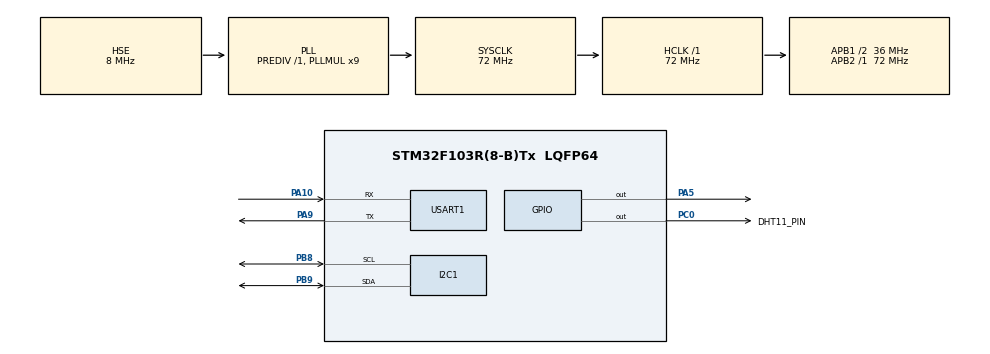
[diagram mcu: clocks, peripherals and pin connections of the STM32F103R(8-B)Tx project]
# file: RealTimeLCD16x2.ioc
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I2C1.I2C_Mode=I2C_Fast
Mcu.Family=STM32F1
Mcu.Name=STM32F103R(8-B)Tx
Mcu.Package=LQFP64
NVIC.PriorityGroup=NVIC_PRIORITYGROUP_4
PA10.Mode=Asynchronous
PA10.Signal=USART1_RX
PA5.Signal=GPIO_Output
PA9.Mode=Asynchronous
PA9.Signal=USART1_TX
PB8.Mode=I2C
PB8.Signal=I2C1_SCL
PB9.Mode=I2C
PB9.Signal=I2C1_SDA
PC0.GPIO_Label=DHT11_PIN
PC0.Signal=GPIO_Output
PC14-OSC32_IN.Mode=LSE-External-Oscillator
PC14-OSC32_IN.Signal=RCC_OSC32_IN
PC15-OSC32_OUT.Mode=LSE-External-Oscillator
PC15-OSC32_OUT.Signal=RCC_OSC32_OUT
PD0-OSC_IN.Mode=HSE-External-Oscillator
PD0-OSC_IN.Signal=RCC_OSC_IN
PD1-OSC_OUT.Mode=HSE-External-Oscillator
PD1-OSC_OUT.Signal=RCC_OSC_OUT
ProjectManager.HeapSize=0x200
ProjectManager.StackSize=0x400
ProjectManager.TargetToolchain=STM32CubeIDE
RCC.AHBFreq_Value=72000000
RCC.APB1CLKDivider=RCC_HCLK_DIV2
RCC.APB1Freq_Value=36000000
RCC.APB1TimFreq_Value=72000000
RCC.APB2Freq_Value=72000000
RCC.APB2TimFreq_Value=72000000
RCC.HCLKFreq_Value=72000000
RCC.PLLMUL=RCC_PLL_MUL9
RCC.PLLSourceVirtual=RCC_PLLSOURCE_HSE
RCC.RTCClockSelection=RCC_RTCCLKSOURCE_LSE
RCC.SYSCLKFreq_VALUE=72000000
RCC.SYSCLKSource=RCC_SYSCLKSOURCE_PLLCLK
RCC.USBFreq_Value=72000000
RTC.Hours=23
RTC.Minutes=59
RTC.Seconds=59
USART1.VirtualMode=VM_ASYNC
VP_RTC_VS_RTC_Activate.Mode=RTC_Enabled
VP_RTC_VS_RTC_Calendar.Mode=RTC_Calendar
VP_SYS_VS_ND.Mode=No_Debug
VP_TIM1_VS_ClockSourceINT.Mode=Internal
board=NUCLEO-F103RB

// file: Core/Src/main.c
/* USER CODE BEGIN Header */
/**
  ******************************************************************************
  * @file           : main.c
  * @brief          : Main program body
  ******************************************************************************
  * @attention
  *
  * Copyright (c) 2026 STMicroelectronics.
  * All rights reserved.
  *
  * This software is licensed under terms that can be found in the LICENSE file
  * in the root directory of this software component.
  * If no LICENSE file comes with this software, it is provided AS-IS.
  *
  ******************************************************************************
  */
/* USER CODE END Header */
#include "main.h"
#include "i2c.h"
#include "rtc.h"
#include "usart.h"
#include "gpio.h"
#include "tim.h"
/* USER CODE BEGIN Includes */
#include "i2c_lcd.h"
#include "stm32f1xx_hal.h"
#include "rtc.h"
#include <stdio.h>
#include <string.h>
#include <stdlib.h>
#include "stm32f1xx_hal_rtc.h"
/* USER CODE END Includes */

/* USER CODE BEGIN PD */
#define STEFANI
#define BCD2DEC(x) (((x) >> 4) * 10 + ((x) & 0x0F))
#define DEC2BCD(x) ((((x) / 10) << 4) | ((x) % 10))
/* USER CODE END PD */

	extern UART_HandleTypeDef huart1;
	char uart_rx_char;
	char uart_buffer[40];
	uint8_t uart_index = 0;
/* USER CODE BEGIN PV */
	char time[16];
	char date[16];
	char temp_buffer[10];
	char hum_buffer[10]; // increased size to avoid overflow
	uint8_t Rh_byte1, Rh_byte2, Temp_byte1, Temp_byte2;
	uint16_t SUM;
	uint8_t Presence = 0;
	int Temperature = 0;
	int Humidity = 0;

RTC_TimeTypeDef prevTime = {0};
RTC_DateTypeDef prevDate = {0};
/* USER CODE END PV */

/* USER CODE BEGIN PFP */
void SystemClock_Config(void);
void HAL_UART_RxCpltCallback(UART_HandleTypeDef *huart);
void parse_and_set_time(char *str);
/* USER CODE END PFP */

/* USER CODE BEGIN 0 */
/*Store date and weekday int BKP register*/
static void RTC_Store_DateWeekDayIntoBkpReg(RTC_DateTypeDef* dateRtc)
{
	uint32_t dateToStore;

	memcpy(&dateToStore, dateRtc, sizeof(dateToStore));

	HAL_RTCEx_BKUPWrite( &hrtc, RTC_BKP_DR2, (dateToStore >> 16)	);

	HAL_RTCEx_BKUPWrite( &hrtc, RTC_BKP_DR3, (dateToStore & 0xFFFF) );

}

static void RTC_LoadDateFromBkpReg(RTC_DateTypeDef* dateRtc)
{
	uint32_t dateToStore;
	if(HAL_RTCEx_BKUPRead(&hrtc, RTC_BKP_DR1)!=0x32F2)
	{
		dateRtc->WeekDay = RTC_WEEKDAY_SATURDAY;
		dateRtc->Month   = RTC_MONTH_JANUARY;
		dateRtc->Date    = 1;
		dateRtc->Year    = 0;  // = 2000
		return;
	}
	dateToStore = HAL_RTCEx_BKUPRead( &hrtc, RTC_BKP_DR3 );

	dateToStore |= ( HAL_RTCEx_BKUPRead( &hrtc, RTC_BKP_DR2 ) << 16 );

	memcpy( dateRtc, &dateToStore, sizeof(dateToStore) );
}

/*CUSTOM CHARACTER CREATION FOR CELSIUS*/

void LCD_CreateCustomChar() {
	uint8_t degree_char[8] = {
	    0x00,
	    0x06,
	    0x09,
	    0x09,
	    0x06,
	    0x00,
	    0x00,
	    0x00
	};
    // Load custom char at location 0
    lcd_send_cmd(0x40); // Set CGRAM address to 0
    for (int i = 0; i < 8; i++) {
    	lcd_send_char(degree_char[i]);
    }
}

/* Gregorian leap-year rule: divisible by 4, except centuries not by 400. */
static uint8_t IsLeapYear(uint16_t year)   // full year, e.g. 2024
{
    return (((year % 4U) == 0U) && ((year % 100U) != 0U)) || ((year % 400U) == 0U);
}

/* Number of days in a given month, with leap-year-aware February. */
static uint8_t DaysInMonth(uint8_t month, uint16_t year)
{
    static const uint8_t days[12] = {31U,28U,31U,30U,31U,30U,31U,31U,30U,31U,30U,31U};

    if ((month == 2U) && IsLeapYear(year))
    {
        return 29U;
    }
    return days[month - 1U];
}

/* ---- Daylight Saving Time (EU rules) --------------------------------------
 * RTC is kept in LOCAL STANDARD (winter) time; DST is derived from the date
 * and applied only for display, so there is no state a power cut can corrupt. */

/* Sakamoto's algorithm: 0=Sunday .. 6=Saturday. 'year' is full, e.g. 2026. */
static uint8_t DayOfWeek(uint16_t year, uint8_t month, uint8_t day)
{
    static const uint8_t t[12] = {0,3,2,5,0,3,5,1,4,6,2,4};
    if (month < 3U) year -= 1U;
    return (uint8_t)((year + year/4U - year/100U + year/400U + t[month-1U] + day) % 7U);
}

/* Date (1..31) of the last Sunday in the given month. */
static uint8_t LastSundayOfMonth(uint16_t year, uint8_t month)
{
    uint8_t last = DaysInMonth(month, year);
    return (uint8_t)(last - DayOfWeek(year, month, last));  /* step back to Sunday */
}

/* 1 = DST (summer) in effect. 'hour' is the STANDARD-time hour. */
static uint8_t IsEU_DST(uint16_t year, uint8_t month, uint8_t day, uint8_t hour)
{
    if ((month < 3U) || (month > 10U)) return 0U;   /* Jan,Feb,Nov,Dec */
    if ((month > 3U) && (month < 10U)) return 1U;   /* Apr..Sep        */

    if (month == 3U) {                              /* March: starts last Sun 02:00 */
        uint8_t ls = LastSundayOfMonth(year, 3U);
        if (day > ls) return 1U;
        if (day < ls) return 0U;
        return (hour >= 2U) ? 1U : 0U;
    } else {                                        /* October: ends last Sun 02:00 */
        uint8_t ls = LastSundayOfMonth(year, 10U);
        if (day < ls) return 1U;
        if (day > ls) return 0U;
        return (hour < 2U) ? 1U : 0U;
    }
}

/* Subtract one hour from a Y/M/D/h value, rolling back across midnight,
 * month and year (leap-year aware). Used to convert an entered wall-clock
 * time to the standard time that is stored in the RTC. */
static void MinusOneHour(uint16_t *y, uint8_t *mo, uint8_t *d, uint8_t *h)
{
    if (*h > 0U) { (*h)--; return; }
    *h = 23U;
    if (*d > 1U) { (*d)--; return; }
    if (*mo > 1U) { (*mo)--; } else { *mo = 12U; (*y)--; }
    *d = DaysInMonth(*mo, *y);
}

/* Reject impossible calendar dates (incl. Feb 29 on non-leap years) before
 * they reach the RTC. An invalid Feb day would otherwise wedge the HAL's
 * day-rollover (RTC_DateUpdate) and the date would stop advancing. */
static uint8_t IsValidDate(int year, int month, int day)
{
    if ((month < 1) || (month > 12))
    {
        return 0U;
    }
    if ((day < 1) || (day > (int)DaysInMonth((uint8_t)month, (uint16_t)year)))
    {
        return 0U;
    }
    return 1U;
}

void parse_and_set_time(char *str)
{
    int y, m, d, hh, mm, ss;

    if (sscanf(str, "T:%d-%d-%d %d:%d:%d",
               &y, &m, &d, &hh, &mm, &ss) == 6)//&y, &m, &d, &weekday, &hh, &mm, &ss) == 7)
    {
        /* Validate before touching the RTC: a bad date (e.g. Feb 29 on a
         * non-leap year, or Feb 30) would stall the HAL date rollover.
         * The day of week is left for HAL_RTC_SetDate to compute from the
         * validated Y/M/D, so it stays correct across the leap day too. */
        if (!IsValidDate(y, m, d) ||
            (hh < 0) || (hh > 23) ||
            (mm < 0) || (mm > 59) ||
            (ss < 0) || (ss > 59))
        {
            return;   // ignore malformed input, keep current RTC time/date
        }

        /* Entered value is local wall-clock; store STANDARD time so the
         * display path (GetLocalDateTime) can re-add the DST offset. */
        if (IsEU_DST((uint16_t)y, (uint8_t)m, (uint8_t)d, (uint8_t)hh)) {
            uint16_t yy=(uint16_t)y; uint8_t mm=(uint8_t)m, dd=(uint8_t)d, hc=(uint8_t)hh;
            MinusOneHour(&yy,&mm,&dd,&hc);
            y=yy; m=mm; d=dd; hh=hc;
        }

        RTC_TimeTypeDef time = {0};
        RTC_DateTypeDef date = {0};

        time.Hours   = ((hh / 10) << 4) | (hh % 10);
		time.Minutes = ((mm / 10) << 4) | (mm % 10);
		time.Seconds = ((ss / 10) << 4) | (ss % 10);

		date.Date  = ((d / 10) << 4) | (d % 10);
		date.Month = ((m / 10) << 4) | (m % 10); //m;
		date.Year  = ((y - 2000) / 10 << 4) | ((y - 2000) % 10);
//        date.WeekDay = weekday;

        HAL_RTC_SetTime(&hrtc, &time, RTC_FORMAT_BCD);
        HAL_RTC_SetDate(&hrtc, &date, RTC_FORMAT_BCD);

        RTC_Store_DateWeekDayIntoBkpReg(&date);
        RTC_SaveDayCounter();
        HAL_RTCEx_BKUPWrite(&hrtc, RTC_BKP_DR1, 0x32F2);
    }
}

void HAL_UART_RxCpltCallback(UART_HandleTypeDef *huart)
{
if (huart->Instance == USART1)
    {
        if (uart_rx_char == '\n')
        {
            uart_buffer[uart_index] = '\0';
            parse_and_set_time(uart_buffer);
            uart_index = 0;
        }
        else
        {
            if (uart_index < sizeof(uart_buffer) - 1)
            {
                uart_buffer[uart_index++] = uart_rx_char;
            }
        }

        HAL_UART_Receive_IT(&huart1, (uint8_t *)&uart_rx_char, 1);
    }
}
void set_timeFromCompile(void)
{
	RTC_TimeTypeDef sTime = {0};
	RTC_DateTypeDef sDate = {0};

	int hour, minute, second, day, year;
	char month_str[4];
	 sscanf(__TIME__, "%d:%d:%d", &hour, &minute, &second);
	 sscanf(__DATE__, "%3s %d %d", month_str, &day, &year);

	int mon = 0;
	if      (!strcmp(month_str, "Jan")) mon = 1;
	else if (!strcmp(month_str, "Feb")) mon = 2;
	else if (!strcmp(month_str, "Mar")) mon = 3;
	else if (!strcmp(month_str, "Apr")) mon = 4;
	else if (!strcmp(month_str, "May")) mon = 5;
	else if (!strcmp(month_str, "Jun")) mon = 6;
	else if (!strcmp(month_str, "Jul")) mon = 7;
	else if (!strcmp(month_str, "Aug")) mon = 8;
	else if (!strcmp(month_str, "Sep")) mon = 9;
	else if (!strcmp(month_str, "Oct")) mon = 10;
	else if (!strcmp(month_str, "Nov")) mon = 11;
	else if (!strcmp(month_str, "Dec")) mon = 12;
	else return;   /* could not parse month */

	/* __DATE__/__TIME__ is local wall-clock; store STANDARD time so the
	 * display path (GetLocalDateTime) re-adds the DST offset. */
	if (IsEU_DST((uint16_t)year, (uint8_t)mon, (uint8_t)day, (uint8_t)hour)) {
		uint16_t yy=(uint16_t)year; uint8_t mm=(uint8_t)mon, dd=(uint8_t)day, hc=(uint8_t)hour;
		MinusOneHour(&yy,&mm,&dd,&hc);
		year=yy; mon=mm; day=dd; hour=hc;
	}

	 sTime.Hours = ((hour / 10) << 4) | (hour % 10);
	sTime.Minutes = ((minute / 10) << 4) | (minute % 10);
	sTime.Seconds = ((second / 10) << 4) | (second % 10);

	sDate.Date = ((day / 10) << 4) | (day % 10);
	sDate.Year = ((year - 2000) / 10 << 4) | ((year - 2000) % 10);
	sDate.Month = ((mon / 10) << 4) | (mon % 10);

	HAL_RTC_SetTime(&hrtc, &sTime, RTC_FORMAT_BCD);
	HAL_RTC_SetDate(&hrtc, &sDate, RTC_FORMAT_BCD);

	HAL_RTCEx_BKUPWrite(&hrtc, RTC_BKP_DR1, 0x32F2);
}
void set_time(void)
{
	RTC_TimeTypeDef sTime = {0};
	RTC_DateTypeDef sDate = {0};
	/*Initialize RTC and set time and date*/

	sTime.Hours = 0x12;
	sTime.Minutes = 0x45;
	sTime.Seconds = 0x00;

	if(HAL_RTC_SetTime(&hrtc, &sTime, RTC_FORMAT_BCD) != HAL_OK)
	{
		Error_Handler();
	}
	sDate.WeekDay = RTC_WEEKDAY_WEDNESDAY;
	sDate.Month = RTC_MONTH_FEBRUARY;
	sDate.Date = 0x04;
	sDate.Year = 0x26;
	if(HAL_RTC_SetDate(&hrtc, &sDate, RTC_FORMAT_BCD) != HAL_OK)
	{
		Error_Handler();
	}
	HAL_RTCEx_BKUPWrite(&hrtc, RTC_BKP_DR1, 0x32F2);
}

void set_alarm(void)
{
	RTC_AlarmTypeDef sAlarm = {0};
	  /** Enable the Alarm A
	  */
	  sAlarm.AlarmTime.Hours = 0x10;
	  sAlarm.AlarmTime.Minutes = 0x21;
	  sAlarm.AlarmTime.Seconds = 0x0;
	  sAlarm.Alarm = RTC_ALARM_A;
	  if (HAL_RTC_SetAlarm_IT(&hrtc, &sAlarm, RTC_FORMAT_BCD) != HAL_OK)
	  	  {
	  	    Error_Handler();
	  	  }
}

const char* WeekDayToStr(uint8_t weekday)
{
	switch(weekday)
	{
	case RTC_WEEKDAY_MONDAY: return "Mon";
	case RTC_WEEKDAY_TUESDAY: return "Tue";
	case RTC_WEEKDAY_WEDNESDAY: return "Wed";
	case RTC_WEEKDAY_THURSDAY: return "Thu";
	case RTC_WEEKDAY_FRIDAY: return "Fri";
	case RTC_WEEKDAY_SATURDAY: return "Sat";
	case RTC_WEEKDAY_SUNDAY: return "Sun";
	default:	return "???";
	}
}

/* Reads the RTC (standard time) and returns local wall-clock time/date with
 * the DST offset already folded in. All fields binary. */
static void GetLocalDateTime(RTC_TimeTypeDef *t, RTC_DateTypeDef *d)
{
    HAL_RTC_GetTime(&hrtc, t, RTC_FORMAT_BIN);
    HAL_RTC_GetDate(&hrtc, d, RTC_FORMAT_BIN);   /* GetDate after GetTime */

    uint16_t year = 2000U + d->Year;

    if (IsEU_DST(year, d->Month, d->Date, t->Hours)) {
        if (++t->Hours >= 24U) {                 /* +1h crossed midnight */
            t->Hours = 0U;
            if (d->Date < DaysInMonth(d->Month, year)) {
                d->Date++;
            } else {
                d->Date = 1U;
                if (d->Month < 12U) { d->Month++; }
                else { d->Month = 1U; d->Year++; year++; }
            }
            d->WeekDay = DayOfWeek(year, d->Month, d->Date);
            if (d->WeekDay == 0U) d->WeekDay = 7U;   /* 0=Sun -> HAL 7=Sun */
        }
    }
}

void get_Time()
{
    RTC_TimeTypeDef gTime;
    RTC_DateTypeDef gDate;

    GetLocalDateTime(&gTime, &gDate);            /* standard time + DST */

    sprintf(time, "%02d:%02d:%02d---T:%02d",
            gTime.Hours, gTime.Minutes, gTime.Seconds, Temperature);

    sprintf(date, "%02d-%02d-20%02d---%s",
            gDate.Date, gDate.Month, gDate.Year,
            WeekDayToStr(gDate.WeekDay));
}
//void get_Time()
//{
//    RTC_TimeTypeDef gTime;
//    RTC_DateTypeDef gDate;
//
//    HAL_RTC_GetTime(&hrtc, &gTime, RTC_FORMAT_BCD);
//    HAL_RTC_GetDate(&hrtc, &gDate, RTC_FORMAT_BCD);
//
//    sprintf(time, "%02d:%02d:%02d---T:%02d", //-H:%02d%%
//            BCD2DEC(gTime.Hours),
//            BCD2DEC(gTime.Minutes),
//            BCD2DEC(gTime.Seconds),
//			Temperature);
//
//
//
//    sprintf(date, "%02d-%02d-20%02d---%s",
//            BCD2DEC(gDate.Date),
//            BCD2DEC(gDate.Month),
//            BCD2DEC(gDate.Year),
//            WeekDayToStr(gDate.WeekDay));
//
//    // Now display `display_buffer` and `date` separately on LCD
//}

void display_time(void)
{
	lcd_send_cmd(0x80);
	lcd_send_string(time);
	lcd_send_char(0);
	lcd_send_char('C');
	lcd_send_cmd(0xc0);
	lcd_send_string(date);
}

void display_date(void)
{
	lcd_send_cmd(0xc0);
	lcd_send_string(date);
}

void display_humidity(void)
{
	lcd_send_cmd(0x88);
	uint8_t i;
	for(i = 8; i< 16; i++)
	{
		lcd_send_char(' ');
	}
	sprintf(hum_buffer, "-H:%02d%%", Humidity);
	lcd_send_cmd(0x88);
	lcd_send_string(hum_buffer);
}

void RTC_CheckDateIncrement(void)
{
	RTC_TimeTypeDef currentTime;
	RTC_DateTypeDef currentDate;

	 HAL_RTC_GetTime(&hrtc, &currentTime, RTC_FORMAT_BCD);

	 if(prevTime.Hours == 0x23 &&
	    prevTime.Minutes == 0x59 &&
		prevTime.Seconds == 0x59 &&
		currentTime.Hours == 0x0 &&
		currentTime.Minutes == 0x0)
	 {
		 HAL_RTC_GetDate(&hrtc, &currentDate, RTC_FORMAT_BCD);

//		 HAL_RTC_SetDate(&hrtc, &currentDate, RTC_FORMAT_BCD);
		 RTC_Store_DateWeekDayIntoBkpReg(&currentDate);
		 HAL_RTCEx_BKUPWrite(&hrtc, RTC_BKP_DR10, RTC_ReadTimeCounter(&hrtc)/86400);
	 }
	 prevTime = currentTime;
}

void RTC_CheckDateIncrement_Days(void)
{
    RTC_DateTypeDef currentDate;

    HAL_RTC_GetDate(&hrtc, &currentDate, RTC_FORMAT_BCD);

    if(memcmp(&currentDate, &prevDate, sizeof(RTC_DateTypeDef)) != 0)
    {
        RTC_Store_DateWeekDayIntoBkpReg(&currentDate);

        prevDate = currentDate;
    }
}

void delay_us (uint16_t us)
{
    __HAL_TIM_SET_COUNTER(&htim1, 0);  // Clear timer counter (Replace htim1 if using another timer)
    while (__HAL_TIM_GET_COUNTER(&htim1) < us); // Wait until counter reaches target microseconds
}

void Set_Pin_Output (GPIO_TypeDef *GPIOx, uint16_t Pin)
{
    GPIO_InitTypeDef GPIO_InitStruct = {0};
    GPIO_InitStruct.Pin = Pin;
    GPIO_InitStruct.Mode = GPIO_MODE_OUTPUT_PP; // Push-pull output
    GPIO_InitStruct.Speed = GPIO_SPEED_FREQ_LOW;
    HAL_GPIO_Init(GPIOx, &GPIO_InitStruct);
}

void Set_Pin_Input (GPIO_TypeDef *GPIOx, uint16_t Pin)
{
    GPIO_InitTypeDef GPIO_InitStruct = {0};
    GPIO_InitStruct.Pin = Pin;
    GPIO_InitStruct.Mode = GPIO_MODE_INPUT;     // Floating input
    GPIO_InitStruct.Pull = GPIO_NOPULL;
    HAL_GPIO_Init(GPIOx, &GPIO_InitStruct);
}

uint8_t DHT11_Start (void)
{
    uint8_t Response = 0;
    Set_Pin_Output(DHT11_PIN_GPIO_Port, DHT11_PIN_Pin);   // Set pin as output
    HAL_GPIO_WritePin(DHT11_PIN_GPIO_Port, DHT11_PIN_Pin, GPIO_PIN_RESET); // Pull pin LOW
    HAL_Delay(18);                                        // Wait 18 milliseconds
    HAL_GPIO_WritePin(DHT11_PIN_GPIO_Port, DHT11_PIN_Pin, GPIO_PIN_SET);   // Pull pin HIGH
    delay_us(20);                                         // Wait 20 microseconds

    Set_Pin_Input(DHT11_PIN_GPIO_Port, DHT11_PIN_Pin);    // Set pin as input
    delay_us(40);

    if (!(HAL_GPIO_ReadPin(DHT11_PIN_GPIO_Port, DHT11_PIN_Pin))) // Check if pin is LOW
    {
        delay_us(80);
        if ((HAL_GPIO_ReadPin(DHT11_PIN_GPIO_Port, DHT11_PIN_Pin))) Response = 1; // Check if pin goes HIGH
        else Response = -1;
    }

    // Wait for the pin to go back low before reading data bits
    uint16_t timeout = 0;
    while ((HAL_GPIO_ReadPin(DHT11_PIN_GPIO_Port, DHT11_PIN_Pin)) && timeout < 100) {
        delay_us(1);
        timeout++;
    }

    return Response;
}

uint8_t DHT11_Read (void)
{
    uint8_t i, j;
    for (j=0; j<8; j++)
    {
        while (!(HAL_GPIO_ReadPin(DHT11_PIN_GPIO_Port, DHT11_PIN_Pin))); // Wait for pin to go HIGH
        delay_us(40); // Wait for 40 microseconds

        if (!(HAL_GPIO_ReadPin(DHT11_PIN_GPIO_Port, DHT11_PIN_Pin))) // If pin is LOW, bit is 0
        {
            i &= ~(1<<(7-j));
        }
        else // If pin is still HIGH, bit is 1
        {
            i |= (1<<(7-j));
            while ((HAL_GPIO_ReadPin(DHT11_PIN_GPIO_Port, DHT11_PIN_Pin))); // Wait for pin to go LOW
        }
    }
    return i;
}

void RTC_RestoreDateAfterReset(void)
{
    RTC_DateTypeDef date = {0};

    RTC_LoadDateFromBkpReg(&date);   // saved date, in BCD

    /* IMPORTANT: do NOT use HAL_RTC_SetDate() here.
     * On the F1 the calendar is software-emulated: the seconds counter runs
     * on VBAT while the board is off, but the date lives only in RAM
     * (hrtc.DateToUpdate) and is lost on reset. HAL_RTC_SetDate() would trim
     * the whole days the counter accumulated while powered off and throw them
     * away, pinning the date to the saved value. That is why the date never
     * advanced across a power-off that crossed midnight.
     *
     * Instead, seed the in-RAM date directly, then let HAL_RTC_GetDate()
     * (via HAL_RTC_GetTime) read the counter, add every midnight that elapsed
     * while we were off, and trim the counter back below 24h. */
    hrtc.DateToUpdate.WeekDay = BCD2DEC(date.WeekDay);
    hrtc.DateToUpdate.Month   = BCD2DEC(date.Month);
    hrtc.DateToUpdate.Date    = BCD2DEC(date.Date);
    hrtc.DateToUpdate.Year    = BCD2DEC(date.Year);

    /* Fold in the days elapsed while the board was off. */
    HAL_RTC_GetDate(&hrtc, &prevDate, RTC_FORMAT_BCD);

    /* Persist the now-advanced date so backup stays in sync. */
    RTC_Store_DateWeekDayIntoBkpReg(&prevDate);
}
/* USER CODE END 0 */

#define RTC_MAGIC 0x32F2

int main(void)
{

  /* MCU Configuration--------------------------------------------------------*/

  /* Reset of all peripherals, Initializes the Flash interface and the Systick. */
  HAL_Init();

  /* USER CODE BEGIN Init */

  /* USER CODE BEGIN SysInit */

  /* Configure the system clock */
  SystemClock_Config();

  /* USER CODE END SysInit */

  /* Initialize all configured peripherals */

  MX_GPIO_Init();
  MX_I2C1_Init();
  MX_RTC_Init();
  MX_USART1_UART_Init();
  MX_TIM1_Init();
  lcd_init();
  /* USER CODE END Init */

  /* USER CODE BEGIN 2 */

  static uint32_t last_clock_tick = 0;
  static uint32_t last_dht_tick = 0;//? maybe not needed

  LCD_CreateCustomChar();

  HAL_UART_Receive_IT(&huart1, (uint8_t *)&uart_rx_char, 1);

  if(HAL_RTCEx_BKUPRead(&hrtc, RTC_BKP_DR1) != RTC_MAGIC) //
  {
	  printf("First boot!\r\n");

	  HAL_RTCEx_BKUPWrite(&hrtc, RTC_BKP_DR1, RTC_MAGIC);
  }
  else
  {
	  printf("Backup register survived reset\r\n");
	  RTC_RestoreDateAfterReset();
	  HAL_RTC_GetDate(&hrtc, &prevDate, RTC_FORMAT_BCD);
  }

  //START TIMER TIM1

  HAL_TIM_Base_Start(&htim1);

  /* USER CODE END 2 */

  /* Infinite loop */

  /* USER CODE BEGIN WHILE */
  while (1)
  {
	  /* USER CODE BEGIN 3 */
#ifndef STEFANI
	  lcd_put_cursor(0, 0);
	  lcd_send_string("Hello Stefani <3!");
	  lcd_put_cursor(1, 0);
	  lcd_send_string("My wife.");
	  HAL_Delay(50);
#endif
//	  lcd_put_cursor(0, 0);
//	  lcd_send_string("Hello Stefani <3!");

	  if(HAL_GetTick() - last_dht_tick >= 2000) // read every 2 seconds
	  {
		  last_dht_tick = HAL_GetTick();

		  Presence = DHT11_Start();

		  if(Presence == 1)
		  {
			  Rh_byte1 = DHT11_Read();
			  Rh_byte2 = DHT11_Read();
			  Temp_byte1 = DHT11_Read();
			  Temp_byte2 = DHT11_Read();
			  SUM = DHT11_Read();
			  if (SUM == (Rh_byte1 + Rh_byte2 + Temp_byte1 + Temp_byte2))
			  {
				  Humidity = Rh_byte1;
				  Temperature = Temp_byte1;
			  }
		  }
	  }

	  if (HAL_GetTick() - last_clock_tick >= 1000) {// it's updated every 1 second(1000ms)
			last_clock_tick = HAL_GetTick();

			RTC_CheckDateIncrement_Days();//condition is true every 1000 ms or 1 second
			get_Time();
			display_time();
//			update_display_non_blocking();
//			display_date();

			/*DONT USE HAL_DELAY functions it messes up the seconds clock while displaying
			* INSTEAD REPLACE display_time function with a STATE MACHINE*/
		}

	  /* USER CODE END 3 */
  }
  /* USER CODE END WHILE */
}

void SystemClock_Config(void)
{
  RCC_OscInitTypeDef RCC_OscInitStruct = {0};
  RCC_ClkInitTypeDef RCC_ClkInitStruct = {0};
  RCC_PeriphCLKInitTypeDef PeriphClkInit = {0};

  /** Initializes the RCC Oscillators according to the specified parameters
  * in the RCC_OscInitTypeDef structure.
  */
  RCC_OscInitStruct.OscillatorType = RCC_OSCILLATORTYPE_HSE|RCC_OSCILLATORTYPE_LSE;
  RCC_OscInitStruct.HSEState = RCC_HSE_ON;
  RCC_OscInitStruct.HSEPredivValue = RCC_HSE_PREDIV_DIV1;
  RCC_OscInitStruct.LSEState = RCC_LSE_ON;
  RCC_OscInitStruct.HSIState = RCC_HSI_ON;
  RCC_OscInitStruct.PLL.PLLState = RCC_PLL_ON;
  RCC_OscInitStruct.PLL.PLLSource = RCC_PLLSOURCE_HSE;
  RCC_OscInitStruct.PLL.PLLMUL = RCC_PLL_MUL9;
  if (HAL_RCC_OscConfig(&RCC_OscInitStruct) != HAL_OK)
  {
    Error_Handler();
  }

  /** Initializes the CPU, AHB and APB buses clocks
  */
  RCC_ClkInitStruct.ClockType = RCC_CLOCKTYPE_HCLK|RCC_CLOCKTYPE_SYSCLK
                              |RCC_CLOCKTYPE_PCLK1|RCC_CLOCKTYPE_PCLK2;
  RCC_ClkInitStruct.SYSCLKSource = RCC_SYSCLKSOURCE_PLLCLK;
  RCC_ClkInitStruct.AHBCLKDivider = RCC_SYSCLK_DIV1;
  RCC_ClkInitStruct.APB1CLKDivider = RCC_HCLK_DIV2;
  RCC_ClkInitStruct.APB2CLKDivider = RCC_HCLK_DIV1;

  if (HAL_RCC_ClockConfig(&RCC_ClkInitStruct, FLASH_LATENCY_2) != HAL_OK)
  {
    Error_Handler();
  }
  PeriphClkInit.PeriphClockSelection = RCC_PERIPHCLK_RTC;
  PeriphClkInit.RTCClockSelection = RCC_RTCCLKSOURCE_LSE;
  if (HAL_RCCEx_PeriphCLKConfig(&PeriphClkInit) != HAL_OK)
  {
    Error_Handler();
  }
}

void Error_Handler(void)
{
  __disable_irq();
  while (1)
  {
  }
}
